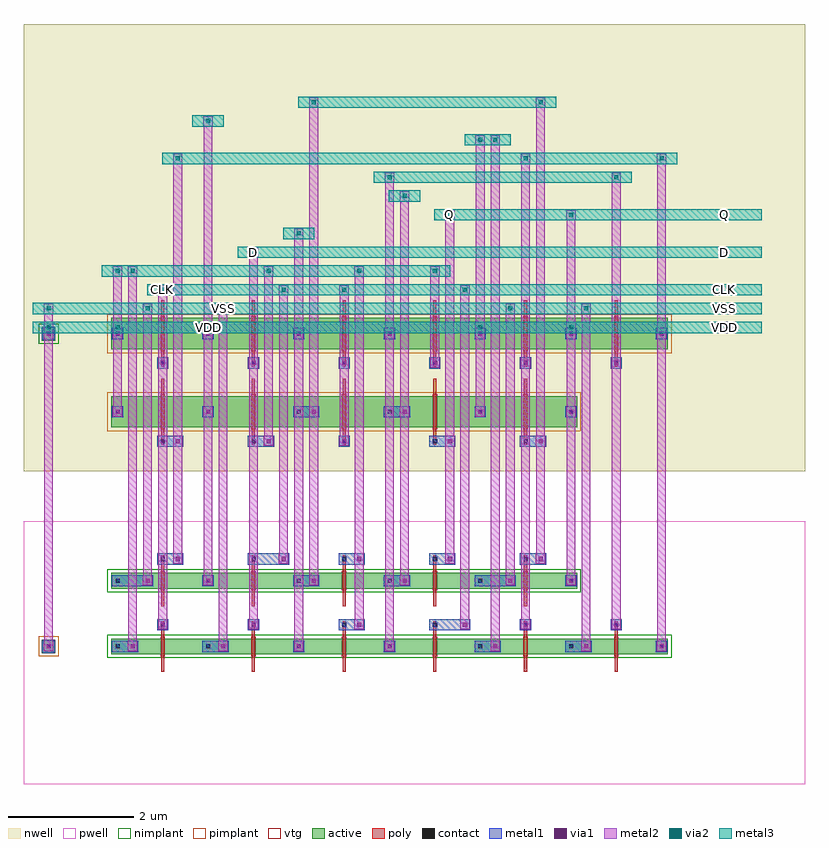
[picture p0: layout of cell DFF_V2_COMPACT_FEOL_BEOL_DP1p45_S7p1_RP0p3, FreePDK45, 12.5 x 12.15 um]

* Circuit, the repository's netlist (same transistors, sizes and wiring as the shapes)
* cell DFF_V2_COMPACT_FEOL_BEOL_DP1p45_S7p1_RP0p3
* pin CLK
* pin D
* pin Q,VDD,VSS
.SUBCKT DFF_V2_COMPACT_FEOL_BEOL_DP1p45_S7p1_RP0p3 2 3 8
* net 2 CLK
* net 3 D
* net 8 Q,VDD,VSS
* device instance $1 r0 *1 1.925,7 PMOS_VTG
M$1 8 2 8 8 PMOS_VTG L=0.05U W=0.5U AS=0.4P AD=0.35P PS=2.6U PD=1.9U
* device instance $2 r0 *1 3.375,7 PMOS_VTG
M$2 1 3 8 8 PMOS_VTG L=0.05U W=0.5U AS=0.35P AD=0.35P PS=1.9U PD=1.9U
* device instance $3 r0 *1 4.825,7 PMOS_VTG
M$3 4 2 1 8 PMOS_VTG L=0.05U W=0.5U AS=0.35P AD=0.35P PS=1.9U PD=1.9U
* device instance $4 r0 *1 6.275,7 PMOS_VTG
M$4 8 8 4 8 PMOS_VTG L=0.05U W=0.5U AS=0.35P AD=0.35P PS=1.9U PD=1.9U
* device instance $5 r0 *1 7.725,7 PMOS_VTG
M$5 8 7 8 8 PMOS_VTG L=0.05U W=1U AS=0.75P AD=0.7P PS=4.5U PD=3.8U
* device instance $6 r0 *1 9.175,7 PMOS_VTG
M$6 7 4 8 8 PMOS_VTG L=0.05U W=0.5U AS=0.35P AD=0.4P PS=1.9U PD=2.6U
* device instance $8 r0 *1 3.375,5.75 PMOS_VTG
M$8 5 8 8 8 PMOS_VTG L=0.05U W=0.5U AS=0.35P AD=0.35P PS=1.9U PD=1.9U
* device instance $9 r0 *1 4.825,5.75 PMOS_VTG
M$9 6 2 5 8 PMOS_VTG L=0.05U W=0.5U AS=0.35P AD=0.35P PS=1.9U PD=1.9U
* device instance $10 r0 *1 6.275,5.75 PMOS_VTG
M$10 8 8 6 8 PMOS_VTG L=0.05U W=0.5U AS=0.35P AD=0.35P PS=1.9U PD=1.9U
* device instance $11 r0 *1 7.725,5.75 PMOS_VTG
M$11 8 5 8 8 PMOS_VTG L=0.05U W=0.5U AS=0.35P AD=0.4P PS=1.9U PD=2.6U
* device instance $12 r0 *1 1.925,2 NMOS_VTG
M$12 8 2 8 8 NMOS_VTG L=0.05U W=0.25U AS=0.2P AD=0.175P PS=2.1U PD=1.65U
* device instance $13 r0 *1 3.375,2 NMOS_VTG
M$13 1 3 8 8 NMOS_VTG L=0.05U W=0.25U AS=0.175P AD=0.175P PS=1.65U PD=1.65U
* device instance $14 r0 *1 4.825,2 NMOS_VTG
M$14 4 8 1 8 NMOS_VTG L=0.05U W=0.25U AS=0.175P AD=0.175P PS=1.65U PD=1.65U
* device instance $15 r0 *1 6.275,2 NMOS_VTG
M$15 8 2 4 8 NMOS_VTG L=0.05U W=0.25U AS=0.175P AD=0.175P PS=1.65U PD=1.65U
* device instance $16 r0 *1 7.725,2 NMOS_VTG
M$16 8 7 8 8 NMOS_VTG L=0.05U W=0.5U AS=0.375P AD=0.35P PS=3.75U PD=3.3U
* device instance $17 r0 *1 9.175,2 NMOS_VTG
M$17 7 4 8 8 NMOS_VTG L=0.05U W=0.25U AS=0.175P AD=0.2P PS=1.65U PD=2.1U
* device instance $19 r0 *1 3.375,3.05 NMOS_VTG
M$19 5 2 8 8 NMOS_VTG L=0.05U W=0.25U AS=0.175P AD=0.175P PS=1.65U PD=1.65U
* device instance $20 r0 *1 4.825,3.05 NMOS_VTG
M$20 6 8 5 8 NMOS_VTG L=0.05U W=0.25U AS=0.175P AD=0.175P PS=1.65U PD=1.65U
* device instance $21 r0 *1 6.275,3.05 NMOS_VTG
M$21 8 8 6 8 NMOS_VTG L=0.05U W=0.25U AS=0.175P AD=0.175P PS=1.65U PD=1.65U
* device instance $22 r0 *1 7.725,3.05 NMOS_VTG
M$22 8 5 8 8 NMOS_VTG L=0.05U W=0.25U AS=0.175P AD=0.2P PS=1.65U PD=2.1U
.ENDS DFF_V2_COMPACT_FEOL_BEOL_DP1p45_S7p1_RP0p3

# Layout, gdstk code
import gdstk
lib = gdstk.Library(unit=1e-6, precision=5e-10)
def R(c, l, rs):  # rectangles x0, y0, x1, y1
    for r in rs: c.add(gdstk.rectangle(r[:2], r[2:], *l))
def A(c, l, x, y, w, h, nx, ny, dx, dy):  # array of equal rectangles
    R(c, l, [(x+i*dx, y+j*dy, x+i*dx+w, y+j*dy+h) for i in range(nx) for j in range(ny)])
active = (1, 0)
pwell = (2, 0)
nwell = (3, 0)
nimplant = (4, 0)
pimplant = (5, 0)
vtg = (6, 0)
poly = (9, 0)
contact = (10, 0)
metal1 = (11, 0)
via1 = (12, 0)
metal2 = (13, 0)
via2 = (14, 0)
metal3 = (15, 0)

dff_v2_compact_feol_beol = lib.new_cell('DFF_V2_COMPACT_FEOL_BEOL_DP1p45_S7p1_RP0p3')
R(dff_v2_compact_feol_beol, active, [(1.1,1.875,10,2.125), (-0.01,1.89,0.21,2.11), (1.1,2.925,8.55,3.175), (1.1,5.5,8.55,6), (1.1,6.75,10,7.25), (-0.01,6.89,0.21,7.11)])
R(dff_v2_compact_feol_beol, pwell, [(-0.3,-0.2,12.2,4)])
R(dff_v2_compact_feol_beol, nwell, [(-0.3,4.8,12.2,11.95)])
R(dff_v2_compact_feol_beol, nimplant, [(1.04,1.815,10.06,2.185), (1.04,2.865,8.61,3.235), (-0.06,6.84,0.26,7.16)])
R(dff_v2_compact_feol_beol, pimplant, [(-0.06,1.84,0.26,2.16), (1.04,5.44,8.61,6.06), (1.04,6.69,10.06,7.31)])
A(dff_v2_compact_feol_beol, vtg, 1.89, 1.845, 0.07, 0.31, 6, 1, 1.45, 0)
A(dff_v2_compact_feol_beol, vtg, 1.89, 2.895, 0.07, 0.31, 5, 1, 1.45, 0)
A(dff_v2_compact_feol_beol, vtg, 1.89, 5.47, 0.07, 0.56, 5, 1, 1.45, 0)
A(dff_v2_compact_feol_beol, vtg, 1.89, 6.72, 0.07, 0.56, 6, 1, 1.45, 0)
A(dff_v2_compact_feol_beol, poly, 1.9, 1.595, 0.05, 0.81, 6, 1, 1.45, 0)
A(dff_v2_compact_feol_beol, poly, 1.9, 2.645, 0.05, 0.81, 5, 1, 1.45, 0)
A(dff_v2_compact_feol_beol, poly, 1.9, 5.22, 0.05, 1.06, 5, 1, 1.45, 0)
A(dff_v2_compact_feol_beol, poly, 1.9, 6.47, 0.05, 1.06, 6, 1, 1.45, 0)
A(dff_v2_compact_feol_beol, contact, 1.17, 1.97, 0.065, 0.065, 7, 2, 1.45, 5)
A(dff_v2_compact_feol_beol, contact, 1.895, 2.315, 0.065, 0.065, 6, 2, 1.45, 4.185)
A(dff_v2_compact_feol_beol, contact, 1.17, 3.02, 0.065, 0.065, 6, 2, 1.45, 2.7)
A(dff_v2_compact_feol_beol, contact, 1.895, 3.365, 0.065, 0.065, 5, 2, 1.45, 1.885)
R(dff_v2_compact_feol_beol, contact, [(0.07,1.97,0.135,2.035), (0.07,6.97,0.135,7.035)])
A(dff_v2_compact_feol_beol, metal1, 4.825, 3.305, 0.24, 0.18, 3, 1, 1.45, 0)
R(dff_v2_compact_feol_beol, metal1, [(0,1.9,0.2,2.1), (0.01,1.91,0.19,2.09), (1.11,1.91,1.29,2.09), (1.2,1.91,1.44,2.09), (1.35,1.91,1.53,2.09), (2.56,1.91,2.74,2.09), (2.65,1.91,2.89,2.09), (2.8,1.91,2.98,2.09), (4.01,1.91,4.19,2.09), (4.01,1.91,4.19,2.09), (5.46,1.91,5.64,2.09), (5.46,1.91,5.64,2.09), (6.91,1.91,7.09,2.09), (7,1.91,7.24,2.09), (7.15,1.91,7.33,2.09), (8.36,1.91,8.54,2.09), (8.45,1.91,8.69,2.09), (8.6,1.91,8.78,2.09), (9.81,1.91,9.99,2.09), (9.81,1.91,9.99,2.09), (1.835,2.255,2.015,2.435), (1.835,2.255,2.015,2.435), (3.285,2.255,3.465,2.435), (3.285,2.255,3.465,2.435), (4.735,2.255,4.915,2.435), (4.825,2.255,5.065,2.435), (4.975,2.255,5.155,2.435), (6.185,2.255,6.365,2.435), (6.275,2.255,6.755,2.435), (6.665,2.255,6.845,2.435), (7.635,2.255,7.815,2.435), (7.635,2.255,7.815,2.435), (9.085,2.255,9.265,2.435), (9.085,2.255,9.265,2.435), (1.11,2.96,1.29,3.14), (1.2,2.96,1.68,3.14), (1.59,2.96,1.77,3.14), (2.56,2.96,2.74,3.14), (2.56,2.96,2.74,3.14), (4.01,2.96,4.19,3.14), (4.1,2.96,4.34,3.14), (4.25,2.96,4.43,3.14), (5.46,2.96,5.64,3.14), (5.55,2.96,5.79,3.14), (5.7,2.96,5.88,3.14), (6.91,2.96,7.09,3.14), (7,2.96,7.48,3.14), (7.39,2.96,7.57,3.14), (8.36,2.96,8.54,3.14), (8.36,2.96,8.54,3.14), (1.835,3.305,2.015,3.485), (1.925,3.305,2.165,3.485), (2.075,3.305,2.255,3.485), (3.285,3.305,3.465,3.485), (3.375,3.305,3.855,3.485), (3.765,3.305,3.945,3.485), (4.735,3.305,4.915,3.485), (4.975,3.305,5.155,3.485), (6.185,3.305,6.365,3.485), (6.425,3.305,6.605,3.485), (7.635,3.305,7.815,3.485), (7.875,3.305,8.055,3.485), (1.835,5.19,2.015,5.37), (1.925,5.19,2.165,5.37), (2.075,5.19,2.255,5.37), (3.285,5.19,3.465,5.37), (3.375,5.19,3.615,5.37), (3.525,5.19,3.705,5.37), (4.735,5.19,4.915,5.37), (4.735,5.19,4.915,5.37), (6.185,5.19,6.365,5.37), (6.275,5.19,6.515,5.37), (6.425,5.19,6.605,5.37), (7.635,5.19,7.815,5.37), (7.725,5.19,7.965,5.37), (7.875,5.19,8.055,5.37), (1.11,5.66,1.29,5.84), (1.11,5.66,1.29,5.84), (2.56,5.66,2.74,5.84), (2.56,5.66,2.74,5.84), (4.01,5.66,4.19,5.84), (4.1,5.66,4.34,5.84), (4.25,5.66,4.43,5.84), (5.46,5.66,5.64,5.84), (5.55,5.66,5.79,5.84), (5.7,5.66,5.88,5.84), (6.91,5.66,7.09,5.84), (6.91,5.66,7.09,5.84), (8.36,5.66,8.54,5.84), (8.36,5.66,8.54,5.84), (1.835,6.44,2.015,6.62), (1.835,6.44,2.015,6.62), (3.285,6.44,3.465,6.62), (3.285,6.44,3.465,6.62), (4.735,6.44,4.915,6.62), (4.735,6.44,4.915,6.62), (6.185,6.44,6.365,6.62), (6.185,6.44,6.365,6.62), (7.635,6.44,7.815,6.62), (7.635,6.44,7.815,6.62), (9.085,6.44,9.265,6.62), (9.085,6.44,9.265,6.62), (0,6.9,0.2,7.1), (0.01,6.91,0.19,7.09), (1.11,6.91,1.29,7.09), (1.11,6.91,1.29,7.09), (2.56,6.91,2.74,7.09), (2.56,6.91,2.74,7.09), (4.01,6.91,4.19,7.09), (4.01,6.91,4.19,7.09), (5.46,6.91,5.64,7.09), (5.46,6.91,5.64,7.09), (6.91,6.91,7.09,7.09), (6.91,6.91,7.09,7.09), (8.36,6.91,8.54,7.09), (8.36,6.91,8.54,7.09), (9.81,6.91,9.99,7.09), (9.81,6.91,9.99,7.09)])
A(dff_v2_compact_feol_beol, via1, 3.345, 2.315, 0.065, 0.065, 3, 1, 1.69, 0)
A(dff_v2_compact_feol_beol, via1, 5.035, 3.365, 0.065, 0.065, 3, 1, 1.45, 0)
A(dff_v2_compact_feol_beol, via1, 1.895, 6.5, 0.065, 0.065, 6, 1, 1.45, 0)
A(dff_v2_compact_feol_beol, via1, 1.17, 6.97, 0.065, 0.065, 7, 1, 1.45, 0)
R(dff_v2_compact_feol_beol, via1, [(0.07,1.97,0.135,2.035), (1.41,1.97,1.475,2.035), (2.86,1.97,2.925,2.035), (4.07,1.97,4.135,2.035), (5.52,1.97,5.585,2.035), (7.21,1.97,7.275,2.035), (8.66,1.97,8.725,2.035), (9.87,1.97,9.935,2.035), (1.895,2.315,1.96,2.38), (7.695,2.315,7.76,2.38), (9.145,2.315,9.21,2.38), (1.65,3.02,1.715,3.085), (2.62,3.02,2.685,3.085), (4.31,3.02,4.375,3.085), (5.76,3.02,5.825,3.085), (7.45,3.02,7.515,3.085), (8.42,3.02,8.485,3.085), (2.135,3.365,2.2,3.43), (3.825,3.365,3.89,3.43), (2.135,5.25,2.2,5.315), (3.585,5.25,3.65,5.315), (4.795,5.25,4.86,5.315), (6.485,5.25,6.55,5.315), (7.935,5.25,8,5.315), (1.17,5.72,1.235,5.785), (2.62,5.72,2.685,5.785), (4.31,5.72,4.375,5.785), (5.76,5.72,5.825,5.785), (6.97,5.72,7.035,5.785), (8.42,5.72,8.485,5.785), (0.07,6.97,0.135,7.035)])
A(dff_v2_compact_feol_beol, metal2, 3.3, 2.27, 0.15, 0.15, 3, 1, 1.69, 0)
A(dff_v2_compact_feol_beol, metal2, 4.99, 3.32, 0.15, 0.15, 3, 1, 1.45, 0)
A(dff_v2_compact_feol_beol, metal2, 1.85, 6.455, 0.15, 0.15, 6, 1, 1.45, 0)
A(dff_v2_compact_feol_beol, metal2, 1.125, 6.925, 0.15, 0.15, 7, 1, 1.45, 0)
R(dff_v2_compact_feol_beol, metal2, [(0.025,1.925,0.175,2.075), (1.365,1.925,1.515,2.075), (2.815,1.925,2.965,2.075), (4.025,1.925,4.175,2.075), (5.475,1.925,5.625,2.075), (7.165,1.925,7.315,2.075), (8.615,1.925,8.765,2.075), (9.825,1.925,9.975,2.075), (0.03,2,0.17,7.4), (1.37,2,1.51,8), (2.82,2,2.96,7.4), (4.03,2,4.17,8.6), (5.48,2,5.62,9.5), (7.17,2,7.31,10.1), (8.62,2,8.76,7.4), (9.83,2,9.97,9.8), (1.85,2.27,2,2.42), (7.65,2.27,7.8,2.42), (9.1,2.27,9.25,2.42), (1.855,2.345,1.995,7.7), (3.305,2.345,3.445,8.3), (4.995,2.345,5.135,8), (6.685,2.345,6.825,7.7), (7.655,2.345,7.795,9.8), (9.105,2.345,9.245,9.5), (1.605,2.975,1.755,3.125), (2.575,2.975,2.725,3.125), (4.265,2.975,4.415,3.125), (5.715,2.975,5.865,3.125), (7.405,2.975,7.555,3.125), (8.375,2.975,8.525,3.125), (1.61,3.05,1.75,7.4), (2.58,3.05,2.72,10.4), (4.27,3.05,4.41,10.7), (5.72,3.05,5.86,9.2), (7.41,3.05,7.55,7.4), (8.38,3.05,8.52,8.9), (2.09,3.32,2.24,3.47), (3.78,3.32,3.93,3.47), (2.095,3.395,2.235,9.8), (3.785,3.395,3.925,7.7), (4.995,3.395,5.135,8), (6.445,3.395,6.585,8.9), (7.895,3.395,8.035,10.7), (2.09,5.205,2.24,5.355), (3.54,5.205,3.69,5.355), (4.75,5.205,4.9,5.355), (6.44,5.205,6.59,5.355), (7.89,5.205,8.04,5.355), (2.095,5.28,2.235,9.8), (3.545,5.28,3.685,8), (4.755,5.28,4.895,7.7), (6.445,5.28,6.585,8.9), (7.895,5.28,8.035,10.7), (1.125,5.675,1.275,5.825), (2.575,5.675,2.725,5.825), (4.265,5.675,4.415,5.825), (5.715,5.675,5.865,5.825), (6.925,5.675,7.075,5.825), (8.375,5.675,8.525,5.825), (1.13,5.75,1.27,7.1), (2.58,5.75,2.72,10.4), (4.27,5.75,4.41,10.7), (5.72,5.75,5.86,9.2), (6.93,5.75,7.07,7.1), (8.38,5.75,8.52,8.9), (1.855,6.53,1.995,7.7), (3.305,6.53,3.445,8.3), (4.755,6.53,4.895,7.7), (6.205,6.53,6.345,8), (7.655,6.53,7.795,9.8), (9.105,6.53,9.245,9.5), (0.025,6.925,0.175,7.075), (0.03,7,0.17,7.1), (1.13,7,1.27,8), (2.58,7,2.72,7.1), (4.03,7,4.17,8.6), (5.48,7,5.62,9.5), (6.93,7,7.07,10.1), (8.38,7,8.52,7.1), (9.83,7,9.97,9.8), (0.025,7.025,0.175,7.175), (1.125,7.025,1.275,7.175), (2.575,7.025,2.725,7.175), (6.925,7.025,7.075,7.175), (8.375,7.025,8.525,7.175), (0.025,7.325,0.175,7.475), (1.605,7.325,1.755,7.475), (2.815,7.325,2.965,7.475), (7.405,7.325,7.555,7.475), (8.615,7.325,8.765,7.475), (1.85,7.625,2,7.775), (1.85,7.625,2,7.775), (3.78,7.625,3.93,7.775), (4.75,7.625,4.9,7.775), (4.75,7.625,4.9,7.775), (6.68,7.625,6.83,7.775), (1.125,7.925,1.275,8.075), (1.365,7.925,1.515,8.075), (3.54,7.925,3.69,8.075), (4.99,7.925,5.14,8.075), (4.99,7.925,5.14,8.075), (6.2,7.925,6.35,8.075), (3.3,8.225,3.45,8.375), (3.3,8.225,3.45,8.375), (4.025,8.525,4.175,8.675), (4.025,8.525,4.175,8.675), (6.44,8.825,6.59,8.975), (6.44,8.825,6.59,8.975), (8.375,8.825,8.525,8.975), (8.375,8.825,8.525,8.975), (5.715,9.125,5.865,9.275), (5.715,9.125,5.865,9.275), (5.475,9.425,5.625,9.575), (5.475,9.425,5.625,9.575), (9.1,9.425,9.25,9.575), (9.1,9.425,9.25,9.575), (2.09,9.725,2.24,9.875), (2.09,9.725,2.24,9.875), (7.65,9.725,7.8,9.875), (7.65,9.725,7.8,9.875), (9.825,9.725,9.975,9.875), (9.825,9.725,9.975,9.875), (6.925,10.025,7.075,10.175), (7.165,10.025,7.315,10.175), (2.575,10.325,2.725,10.475), (2.575,10.325,2.725,10.475), (4.265,10.625,4.415,10.775), (4.265,10.625,4.415,10.775), (7.89,10.625,8.04,10.775), (7.89,10.625,8.04,10.775)])
R(dff_v2_compact_feol_beol, via2, [(0.07,7.07,0.135,7.135), (1.17,7.07,1.235,7.135), (2.62,7.07,2.685,7.135), (6.97,7.07,7.035,7.135), (8.42,7.07,8.485,7.135), (0.07,7.37,0.135,7.435), (1.65,7.37,1.715,7.435), (2.86,7.37,2.925,7.435), (7.45,7.37,7.515,7.435), (8.66,7.37,8.725,7.435), (1.895,7.67,1.96,7.735), (1.895,7.67,1.96,7.735), (3.825,7.67,3.89,7.735), (4.795,7.67,4.86,7.735), (4.795,7.67,4.86,7.735), (6.725,7.67,6.79,7.735), (1.17,7.97,1.235,8.035), (1.41,7.97,1.475,8.035), (3.585,7.97,3.65,8.035), (5.035,7.97,5.1,8.035), (5.035,7.97,5.1,8.035), (6.245,7.97,6.31,8.035), (3.345,8.27,3.41,8.335), (3.345,8.27,3.41,8.335), (4.07,8.57,4.135,8.635), (4.07,8.57,4.135,8.635), (6.485,8.87,6.55,8.935), (6.485,8.87,6.55,8.935), (8.42,8.87,8.485,8.935), (8.42,8.87,8.485,8.935), (5.76,9.17,5.825,9.235), (5.76,9.17,5.825,9.235), (5.52,9.47,5.585,9.535), (5.52,9.47,5.585,9.535), (9.145,9.47,9.21,9.535), (9.145,9.47,9.21,9.535), (2.135,9.77,2.2,9.835), (2.135,9.77,2.2,9.835), (7.695,9.77,7.76,9.835), (7.695,9.77,7.76,9.835), (9.87,9.77,9.935,9.835), (9.87,9.77,9.935,9.835), (6.97,10.07,7.035,10.135), (7.21,10.07,7.275,10.135), (2.62,10.37,2.685,10.435), (2.62,10.37,2.685,10.435), (4.31,10.67,4.375,10.735), (4.31,10.67,4.375,10.735), (7.935,10.67,8,10.735), (7.935,10.67,8,10.735)])
R(dff_v2_compact_feol_beol, metal3, [(-0.15,7.01,8.7,7.19), (8.7,7.01,11.5,7.19), (0.025,7.025,0.175,7.175), (1.125,7.025,1.275,7.175), (2.575,7.025,2.725,7.175), (6.925,7.025,7.075,7.175), (8.375,7.025,8.525,7.175), (-0.15,7.31,8.94,7.49), (8.94,7.31,11.5,7.49), (0.025,7.325,0.175,7.475), (1.605,7.325,1.755,7.475), (2.815,7.325,2.965,7.475), (7.405,7.325,7.555,7.475), (8.615,7.325,8.765,7.475), (1.675,7.61,7.005,7.79), (7.005,7.61,11.5,7.79), (1.85,7.625,2,7.775), (1.85,7.625,2,7.775), (3.78,7.625,3.93,7.775), (4.75,7.625,4.9,7.775), (4.75,7.625,4.9,7.775), (6.68,7.625,6.83,7.775), (0.95,7.91,6.525,8.09), (1.125,7.925,1.275,8.075), (1.365,7.925,1.515,8.075), (3.54,7.925,3.69,8.075), (4.99,7.925,5.14,8.075), (4.99,7.925,5.14,8.075), (6.2,7.925,6.35,8.075), (3.125,8.21,3.625,8.39), (3.625,8.21,11.5,8.39), (3.3,8.225,3.45,8.375), (3.3,8.225,3.45,8.375), (3.85,8.51,4.35,8.69), (4.025,8.525,4.175,8.675), (4.025,8.525,4.175,8.675), (6.265,8.81,8.7,8.99), (8.7,8.81,11.5,8.99), (6.44,8.825,6.59,8.975), (6.44,8.825,6.59,8.975), (8.375,8.825,8.525,8.975), (8.375,8.825,8.525,8.975), (5.54,9.11,6.04,9.29), (5.715,9.125,5.865,9.275), (5.715,9.125,5.865,9.275), (5.3,9.41,9.425,9.59), (5.475,9.425,5.625,9.575), (5.475,9.425,5.625,9.575), (9.1,9.425,9.25,9.575), (9.1,9.425,9.25,9.575), (1.915,9.71,10.15,9.89), (2.09,9.725,2.24,9.875), (2.09,9.725,2.24,9.875), (7.65,9.725,7.8,9.875), (7.65,9.725,7.8,9.875), (9.825,9.725,9.975,9.875), (9.825,9.725,9.975,9.875), (6.75,10.01,7.49,10.19), (6.925,10.025,7.075,10.175), (7.165,10.025,7.315,10.175), (2.4,10.31,2.9,10.49), (2.575,10.325,2.725,10.475), (2.575,10.325,2.725,10.475), (4.09,10.61,8.215,10.79), (4.265,10.625,4.415,10.775), (4.265,10.625,4.415,10.775), (7.89,10.625,8.04,10.775), (7.89,10.625,8.04,10.775)])
dff_v2_compact_feol_beol.add(gdstk.Label('VDD', (10.9,7.1), layer=15, texttype=0))
dff_v2_compact_feol_beol.add(gdstk.Label('VDD', (10.9,7.1), layer=15, texttype=1))
dff_v2_compact_feol_beol.add(gdstk.Label('VDD', (10.9,7.1), layer=15, texttype=2))
dff_v2_compact_feol_beol.add(gdstk.Label('VDD', (2.65,7.1), layer=13, texttype=0))
dff_v2_compact_feol_beol.add(gdstk.Label('VDD', (2.65,7.1), layer=13, texttype=1))
dff_v2_compact_feol_beol.add(gdstk.Label('VDD', (2.65,7.1), layer=13, texttype=2))
dff_v2_compact_feol_beol.add(gdstk.Label('VSS', (10.9,7.4), layer=15, texttype=0))
dff_v2_compact_feol_beol.add(gdstk.Label('VSS', (10.9,7.4), layer=15, texttype=1))
dff_v2_compact_feol_beol.add(gdstk.Label('VSS', (10.9,7.4), layer=15, texttype=2))
dff_v2_compact_feol_beol.add(gdstk.Label('VSS', (2.89,7.4), layer=13, texttype=0))
dff_v2_compact_feol_beol.add(gdstk.Label('VSS', (2.89,7.4), layer=13, texttype=1))
dff_v2_compact_feol_beol.add(gdstk.Label('VSS', (2.89,7.4), layer=13, texttype=2))
dff_v2_compact_feol_beol.add(gdstk.Label('CLK', (10.9,7.7), layer=15, texttype=0))
dff_v2_compact_feol_beol.add(gdstk.Label('CLK', (10.9,7.7), layer=15, texttype=1))
dff_v2_compact_feol_beol.add(gdstk.Label('CLK', (10.9,7.7), layer=15, texttype=2))
dff_v2_compact_feol_beol.add(gdstk.Label('CLK', (1.925,7.7), layer=13, texttype=0))
dff_v2_compact_feol_beol.add(gdstk.Label('CLK', (1.925,7.7), layer=13, texttype=1))
dff_v2_compact_feol_beol.add(gdstk.Label('CLK', (1.925,7.7), layer=13, texttype=2))
dff_v2_compact_feol_beol.add(gdstk.Label('D', (10.9,8.3), layer=15, texttype=0))
dff_v2_compact_feol_beol.add(gdstk.Label('D', (10.9,8.3), layer=15, texttype=1))
dff_v2_compact_feol_beol.add(gdstk.Label('D', (10.9,8.3), layer=15, texttype=2))
dff_v2_compact_feol_beol.add(gdstk.Label('D', (3.375,8.3), layer=13, texttype=0))
dff_v2_compact_feol_beol.add(gdstk.Label('D', (3.375,8.3), layer=13, texttype=1))
dff_v2_compact_feol_beol.add(gdstk.Label('D', (3.375,8.3), layer=13, texttype=2))
dff_v2_compact_feol_beol.add(gdstk.Label('Q', (10.9,8.9), layer=15, texttype=0))
dff_v2_compact_feol_beol.add(gdstk.Label('Q', (10.9,8.9), layer=15, texttype=1))
dff_v2_compact_feol_beol.add(gdstk.Label('Q', (10.9,8.9), layer=15, texttype=2))
dff_v2_compact_feol_beol.add(gdstk.Label('Q', (6.515,8.9), layer=13, texttype=0))
dff_v2_compact_feol_beol.add(gdstk.Label('Q', (6.515,8.9), layer=13, texttype=1))
dff_v2_compact_feol_beol.add(gdstk.Label('Q', (6.515,8.9), layer=13, texttype=2))

lib.write_gds('DFF_V2_COMPACT_FEOL_BEOL_DP1p45_S7p1_RP0p3.gds')
